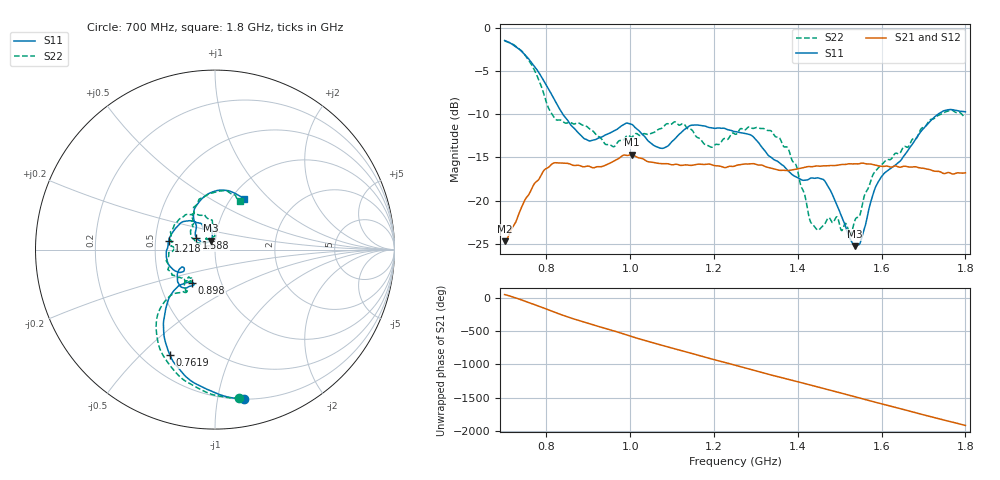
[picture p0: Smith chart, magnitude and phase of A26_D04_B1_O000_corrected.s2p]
! Created with skrf 1.9.0 (http://scikit-rf.org).
# Hz S RI R 50.0
!freq ReS11 ImS11 ReS21 ImS21 ReS12 ImS12 ReS22 ImS22
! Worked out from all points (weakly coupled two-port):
!   1601 points, 700 MHz to 1.8 GHz, reference 50 ohm
!   highest |S21| = -14.67 dB at 1.003 GHz (marker M1); lowest = -24.7 dB at 700 MHz (marker M2)
!   lowest |S11| = -25.3 dB at 1.536 GHz (marker M3), VSWR 1.12, Z = 47.5 + j4.66 ohm
!   |S11| at or under -10 dB: 839 MHz to 1.734 GHz (895.4 MHz wide, 69.6 % of centre)
!   |S22| runs from -24.0 to -1.5 dB; largest |S21 - S12| = 0.0033
!   S11 on the Smith chart (normalised r, x): 700 MHz: 0.20, -1.19; 761.9 MHz: 0.31, -0.62; 898 MHz: 0.73, -0.28; 1.218 GHz: 0.59, +0.06; 1.588 GHz: 0.81, +0.11; 1.8 GHz: 1.14, +0.72
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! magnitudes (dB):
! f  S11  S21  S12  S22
! 700 MHz  -1.5  -24.7  -24.5  -1.5
! 761.9 MHz  -3.9  -18.9  -18.9  -4.1
! 818.9 MHz  -8.3  -15.6  -15.7  -10.4
! 883.6 MHz  -12.5  -16.0  -15.9  -11.2
! 898 MHz  -13.0  -16.0  -16.1  -11.5
! 957.8 MHz  -12.0  -15.5  -15.5  -13.7
! 1.003 GHz  -11.2  -14.7  -14.8  -12.6
! 1.067 GHz  -13.8  -15.7  -15.6  -11.8
! 1.145 GHz  -11.3  -15.9  -15.9  -11.7
! 1.218 GHz  -11.6  -16.1  -16.1  -13.2
! 1.25 GHz  -12.0  -16.0  -15.9  -12.3
! 1.356 GHz  -15.6  -16.5  -16.4  -12.7
! 1.396 GHz  -17.3  -16.4  -16.3  -15.9
! 1.434 GHz  -17.4  -16.1  -16.0  -22.7
! 1.469 GHz  -18.1  -16.0  -16.0  -22.3
! 1.525 GHz  -24.5  -15.7  -15.7  -24.0
! 1.536 GHz  -25.3  -15.7  -15.8  -22.3
! 1.551 GHz  -24.6  -15.7  -15.7  -21.1
! 1.588 GHz  -18.2  -15.9  -15.9  -16.5
! 1.617 GHz  -16.4  -16.1  -16.0  -15.2
! 1.732 GHz  -10.1  -16.6  -16.6  -10.2
! 1.8 GHz  -9.7  -16.8  -16.8  -10.2
